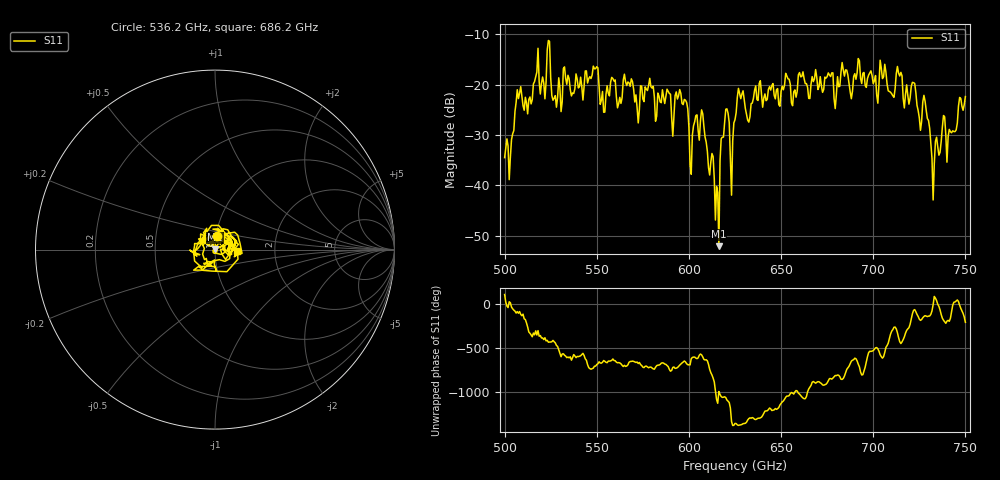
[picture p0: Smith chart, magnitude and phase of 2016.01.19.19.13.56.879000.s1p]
!Created with skrf (http://scikit-rf.org).
# GHz S RI R 50.0
!freq ReS11 ImS11
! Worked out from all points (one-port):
!   401 points, 500 GHz to 750 GHz, reference 50 ohm
!   lowest |S11| = -52.0 dB at 616.2 GHz (marker M1), VSWR 1.01, Z = 50 + j0.249 ohm
!   |S11| at or under -10 dB: start of sweep to end of sweep
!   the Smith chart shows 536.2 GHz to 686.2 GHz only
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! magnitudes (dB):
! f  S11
! 500 GHz  -34.5
! 503.8 GHz  -30.9
! 507.5 GHz  -22.8
! 513.8 GHz  -22.5
! 523.8 GHz  -11.3
! 526.9 GHz  -22.7
! 531.2 GHz  -23.4
! 549.4 GHz  -16.9
! 553.1 GHz  -21.4
! 558.8 GHz  -18.8
! 562.5 GHz  -22.5
! 593.8 GHz  -22.9
! 601.2 GHz  -37.8
! 607.5 GHz  -25.8
! 615 GHz  -40.2
! 616.2 GHz  -52.0
! 620 GHz  -24.9
! 623.1 GHz  -41.9
! 625 GHz  -27.0
! 628.1 GHz  -22.8
! 631.9 GHz  -27.1
! 656.2 GHz  -24.2
! 687.5 GHz  -21.5
! 705 GHz  -18.8
! 718.8 GHz  -22.1
! 728.1 GHz  -23.3
! 732.5 GHz  -42.9
! 750 GHz  -22.4
